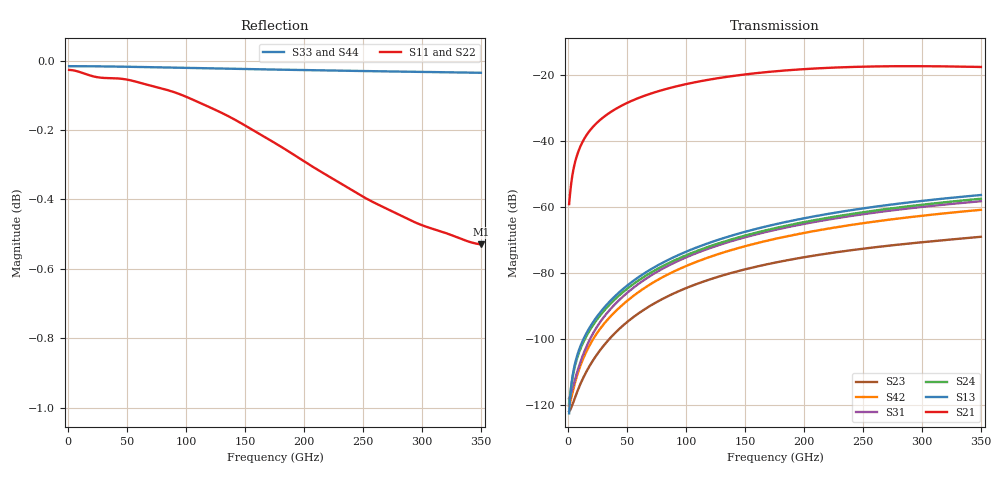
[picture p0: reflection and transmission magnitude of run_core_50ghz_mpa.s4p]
#  Hz  S  RI  R  50
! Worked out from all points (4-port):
!   400 points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, 875 MHz to 350 GHz, reference 50 ohm
!   strongest paths, dB at 875 MHz, 88.38 GHz, 175.9 GHz, 263.4 GHz, 350 GHz:
!     S21: -59.0, -23.6, -18.7, -17.2, -17.4
!     S13: -122.4, -75.3, -65.1, -59.6, -56.2
!     S24: -119.4, -76.3, -66.2, -60.8, -57.4
!     S31: -117.9, -77.0, -66.8, -61.4, -58.1
!     S42: -120.1, -79.6, -69.5, -64.1, -60.7
!     S23: -121.8, -86.3, -76.7, -71.9, -68.9
!   lowest |S11| = -0.5 dB at 350 GHz (marker M1), VSWR 32.80, Z = 1.53 - j3.09 ohm
!   |S11| at or under -10 dB: nowhere
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8.75e8  0.9969 -0.00792  0.000882 0.0007  4.51e-07 6.12e-07  -6.87e-07 -1.21e-07
        0.000881 0.0007  0.9969 -0.00777  -8.03e-07 -1.14e-07  9.31e-07 5.33e-07
        1.26e-06 1.76e-07  -1.51e-07 -1.12e-07  -0.9981 3.32e-05  9.88e-05 -1.26e-06
        -3.6e-08 -1.29e-07  9.68e-07 2.18e-07  0.000107 -1.42e-06  -0.9982 3.47e-05
6.125e9  0.9951 -0.0553  0.0012 0.00488  1.5e-06 4.24e-06  -9.96e-07 -8.3e-07
         0.0012 0.00488  0.9951 -0.0543  -1.11e-06 -7.77e-07  1.89e-06 3.69e-06
         2.3e-06 1.13e-06  -4.8e-07 -7.52e-07  -0.9981 0.000232  9.8e-05 -8.74e-06
         -3.74e-07 -8.71e-07  1.8e-06 1.44e-06  0.000106 -9.81e-06  -0.9982 0.000243
1.75e10  0.9829 -0.1562  0.00337 0.0135  9.04e-06 1.12e-05  -3.19e-06 -1.96e-06
         0.00337 0.0135  0.9833 -0.1533  -3.29e-06 -1.84e-06  8.75e-06 9.61e-06
         9.14e-06 1.41e-06  -2.69e-06 -1.55e-06  -0.9981 0.00066  9.23e-05 -2.32e-05
         -2.62e-06 -1.88e-06  7.25e-06 2.58e-06  9.97e-05 -2.6e-05  -0.9982 0.000688
6.9125e10  0.8076 -0.5757  0.0315 0.0419  0.000113 -4.66e-06  -2.95e-05 1.08e-05
           0.0315 0.0419  0.8145 -0.5661  -3e-05 1.1e-05  0.0001 -7.37e-06
           8.24e-05 -3.73e-05  -2.49e-05 1.1e-05  -0.9978 0.00246  4.6e-05 -3.9e-05
           -2.44e-05 9.14e-06  6.3e-05 -2.43e-05  4.85e-05 -4.21e-05  -0.9978 0.00251
1.93375e11  -0.1598 -0.9555  0.1203 -0.0214  0.000393 -0.000517  -4.48e-05 0.000156
            0.1206 -0.0216  -0.1262 -0.9613  -4.65e-05 0.000161  0.000336 -0.000458
            0.000242 -0.000476  -4.01e-05 0.000138  -0.9969 0.00594  1.15e-05 6.97e-06
            -4.39e-05 0.000129  0.000184 -0.000344  1.29e-05 6.77e-06  -0.9969 0.00603
2.7475e11  -0.7234 -0.6177  0.0892 -0.1048  0.000282 -0.00107  3.34e-05 0.000256
           0.0891 -0.1054  -0.6936 -0.6525  3.52e-05 0.000265  0.000239 -0.000942
           0.000103 -0.000898  2.4e-05 0.000228  -0.9963 0.00796  1.22e-05 2.77e-05
           1.27e-05 0.00022  9.22e-05 -0.000655  1.39e-05 2.82e-05  -0.9964 0.00808
3.5e11  -0.9337 -0.1158  0.0175 -0.1333  -8.24e-05 -0.00154  0.000145 0.000317
        0.0168 -0.1335  -0.9267 -0.1671  0.00015 0.000327  -7.91e-05 -0.00135
        -0.000215 -0.00122  0.000117 0.000286  -0.9959 0.00976  1.65e-05 4.2e-05
        0.000103 0.000284  -0.000134 -0.000911  1.88e-05 4.27e-05  -0.9959 0.00991
